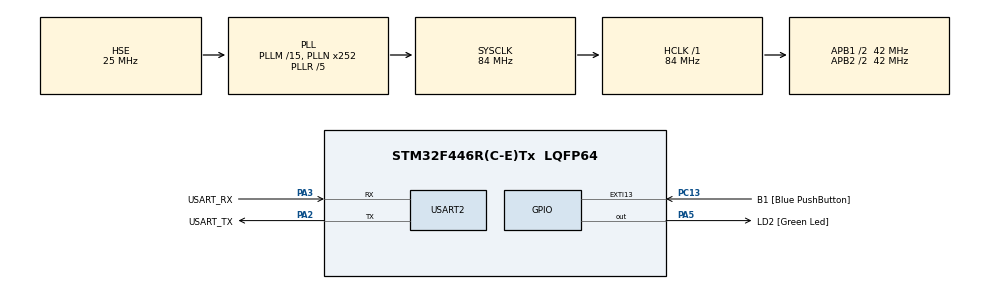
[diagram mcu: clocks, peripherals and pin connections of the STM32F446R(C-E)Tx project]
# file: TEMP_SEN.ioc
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ADC1.Channel-1\#ChannelRegularConversion=ADC_CHANNEL_VREFINT
ADC1.Channel-2\#ChannelRegularConversion=ADC_CHANNEL_TEMPSENSOR
ADC1.ContinuousConvMode=ENABLE
ADC1.DMAContinuousRequests=ENABLE
ADC1.ExternalTrigConv=ADC_EXTERNALTRIGCONV_T3_TRGO
ADC1.NbrOfConversion=2
ADC1.NbrOfConversionFlag=1
ADC1.Rank-1\#ChannelRegularConversion=1
ADC1.Rank-2\#ChannelRegularConversion=2
ADC1.SamplingTime-1\#ChannelRegularConversion=ADC_SAMPLETIME_480CYCLES
ADC1.SamplingTime-2\#ChannelRegularConversion=ADC_SAMPLETIME_480CYCLES
ADC1.ScanConvMode=ENABLE
ADC1.master=1
Dma.ADC1.0.Direction=DMA_PERIPH_TO_MEMORY
Dma.ADC1.0.FIFOMode=DMA_FIFOMODE_DISABLE
Dma.ADC1.0.Instance=DMA2_Stream0
Dma.ADC1.0.MemDataAlignment=DMA_MDATAALIGN_HALFWORD
Dma.ADC1.0.MemInc=DMA_MINC_ENABLE
Dma.ADC1.0.Mode=DMA_CIRCULAR
Dma.ADC1.0.PeriphDataAlignment=DMA_PDATAALIGN_HALFWORD
Dma.ADC1.0.PeriphInc=DMA_PINC_DISABLE
Dma.ADC1.0.Priority=DMA_PRIORITY_LOW
Dma.Request0=ADC1
Mcu.Family=STM32F4
Mcu.Name=STM32F446R(C-E)Tx
Mcu.Package=LQFP64
NVIC.ADC_IRQn=true\:0\:0\:false\:false\:true\:true\:true\:true
NVIC.DMA2_Stream0_IRQn=true\:0\:0\:false\:false\:true\:false\:true\:true
NVIC.PriorityGroup=NVIC_PRIORITYGROUP_0
PA13.GPIO_Label=TMS
PA13.Mode=Serial_Wire
PA13.Signal=SYS_JTMS-SWDIO
PA14.GPIO_Label=TCK
PA14.Mode=Serial_Wire
PA14.Signal=SYS_JTCK-SWCLK
PA2.GPIO_Label=USART_TX
PA2.Mode=Asynchronous
PA2.Signal=USART2_TX
PA3.GPIO_Label=USART_RX
PA3.Mode=Asynchronous
PA3.Signal=USART2_RX
PA5.GPIO_Label=LD2 [Green Led]
PA5.Signal=GPIO_Output
PB3.GPIO_Label=SWO
PB3.Signal=SYS_JTDO-SWO
PC13.GPIO_Label=B1 [Blue PushButton]
PC13.GPIO_ModeDefaultEXTI=GPIO_MODE_IT_FALLING
PC13.Signal=GPXTI13
PC14-OSC32_IN.Mode=LSE-External-Oscillator
PC14-OSC32_IN.Signal=RCC_OSC32_IN
PC15-OSC32_OUT.Mode=LSE-External-Oscillator
PC15-OSC32_OUT.Signal=RCC_OSC32_OUT
PH0-OSC_IN.Mode=HSE-External-Oscillator
PH0-OSC_IN.Signal=RCC_OSC_IN
PH1-OSC_OUT.Mode=HSE-External-Oscillator
PH1-OSC_OUT.Signal=RCC_OSC_OUT
ProjectManager.HeapSize=0x200
ProjectManager.StackSize=0x400
ProjectManager.TargetToolchain=STM32CubeIDE
RCC.48MHZClocksFreq_Value=84000000
RCC.AHBFreq_Value=84000000
RCC.APB1CLKDivider=RCC_HCLK_DIV2
RCC.APB1Freq_Value=42000000
RCC.APB1TimFreq_Value=84000000
RCC.APB2CLKDivider=RCC_HCLK_DIV2
RCC.APB2Freq_Value=42000000
RCC.APB2TimFreq_Value=84000000
RCC.CortexFreq_Value=84000000
RCC.FLatency-AdvancedSettings=FLASH_LATENCY_2
RCC.HCLKFreq_Value=84000000
RCC.HSE_VALUE=25000000
RCC.HSI_VALUE=16000000
RCC.PLLM=15
RCC.PLLN=252
RCC.PLLP=RCC_PLLP_DIV4
RCC.PLLR=5
RCC.PLLSourceVirtual=RCC_PLLSOURCE_HSE
RCC.SYSCLKFreq_VALUE=84000000
RCC.SYSCLKSource=RCC_SYSCLKSOURCE_PLLRCLK
RCC.USBFreq_Value=210000000
RCC.VCOOutputFreq_Value=420000000
TIM3.Period=10000-1
TIM3.Prescaler=0
TIM3.TIM_MasterOutputTrigger=TIM_TRGO_UPDATE
USART2.VirtualMode=VM_ASYNC
VP_ADC1_TempSens_Input.Mode=IN-TempSens
VP_ADC1_Vref_Input.Mode=IN-Vrefint
VP_TIM3_VS_OPM.Mode=OPM_bit
board=NUCLEO-F446RE

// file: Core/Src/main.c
/* USER CODE BEGIN Header */
/**
  ******************************************************************************
  * @file           : main.c
  * @brief          : Main program body
  ******************************************************************************
  * @attention
  *
  * Copyright (c) 2025 STMicroelectronics.
  * All rights reserved.
  *
  * This software is licensed under terms that can be found in the LICENSE file
  * in the root directory of this software component.
  * If no LICENSE file comes with this software, it is provided AS-IS.
  *
  ******************************************************************************
  */
/* USER CODE END Header */
#include "main.h"

ADC_HandleTypeDef hadc1;
DMA_HandleTypeDef hdma_adc1;

TIM_HandleTypeDef htim3;

UART_HandleTypeDef huart2;

/* USER CODE BEGIN PV */
uint16_t AdcRaw[2];

uint8_t AdcConvCmplt = 0;

double Temperature;
/* USER CODE END PV */

void SystemClock_Config(void);
static void MX_GPIO_Init(void);
static void MX_DMA_Init(void);
static void MX_USART2_UART_Init(void);
static void MX_ADC1_Init(void);
static void MX_TIM3_Init(void);

int main(void)
{

  /* MCU Configuration--------------------------------------------------------*/

  /* Reset of all peripherals, Initializes the Flash interface and the Systick. */
  HAL_Init();

  /* Configure the system clock */
  SystemClock_Config();

  /* Initialize all configured peripherals */
  MX_GPIO_Init();
  MX_DMA_Init();
  MX_USART2_UART_Init();
  MX_ADC1_Init();
  MX_TIM3_Init();
  /* USER CODE BEGIN 2 */
  HAL_ADC_Start_DMA(&hadc1, (uint32_t*)AdcRaw, 2);
  HAL_TIM_Base_Start(&htim3);

#define VREFINT 1.21 //internal reference voltage
#define ADCMAX 4095.0 //ADC maximum value

#define V25 0.76 //sencor voltage at room temp 25*C
#define AVG_SLOPE 0.0025 //
  /* USER CODE END 2 */

  /* Infinite loop */
  /* USER CODE BEGIN WHILE */
  while (1)
  {
	  if(AdcConvCmplt){
		  /*something to do*/
		  double Vrefint = (VREFINT*ADCMAX)/AdcRaw[0];

		  double VTMPSens = (Vrefint*AdcRaw[1])/ADCMAX;

		  Temperature = (VTMPSens - V25)/(AVG_SLOPE) + 25.0;

		  AdcConvCmplt= 0;
	  }
    /* USER CODE END WHILE */

  }
}

void SystemClock_Config(void)
{
  RCC_OscInitTypeDef RCC_OscInitStruct = {0};
  RCC_ClkInitTypeDef RCC_ClkInitStruct = {0};

  /** Configure the main internal regulator output voltage
  */
  __HAL_RCC_PWR_CLK_ENABLE();
  __HAL_PWR_VOLTAGESCALING_CONFIG(PWR_REGULATOR_VOLTAGE_SCALE3);

  /** Initializes the RCC Oscillators according to the specified parameters
  * in the RCC_OscInitTypeDef structure.
  */
  RCC_OscInitStruct.OscillatorType = RCC_OSCILLATORTYPE_HSE;
  RCC_OscInitStruct.HSEState = RCC_HSE_ON;
  RCC_OscInitStruct.PLL.PLLState = RCC_PLL_ON;
  RCC_OscInitStruct.PLL.PLLSource = RCC_PLLSOURCE_HSE;
  RCC_OscInitStruct.PLL.PLLM = 15;
  RCC_OscInitStruct.PLL.PLLN = 252;
  RCC_OscInitStruct.PLL.PLLP = RCC_PLLP_DIV4;
  RCC_OscInitStruct.PLL.PLLQ = 2;
  RCC_OscInitStruct.PLL.PLLR = 5;
  if (HAL_RCC_OscConfig(&RCC_OscInitStruct) != HAL_OK)
  {
    Error_Handler();
  }

  /** Initializes the CPU, AHB and APB buses clocks
  */
  RCC_ClkInitStruct.ClockType = RCC_CLOCKTYPE_HCLK|RCC_CLOCKTYPE_SYSCLK
                              |RCC_CLOCKTYPE_PCLK1|RCC_CLOCKTYPE_PCLK2;
  RCC_ClkInitStruct.SYSCLKSource = RCC_SYSCLKSOURCE_PLLRCLK;
  RCC_ClkInitStruct.AHBCLKDivider = RCC_SYSCLK_DIV1;
  RCC_ClkInitStruct.APB1CLKDivider = RCC_HCLK_DIV2;
  RCC_ClkInitStruct.APB2CLKDivider = RCC_HCLK_DIV2;

  if (HAL_RCC_ClockConfig(&RCC_ClkInitStruct, FLASH_LATENCY_2) != HAL_OK)
  {
    Error_Handler();
  }
}

static void MX_ADC1_Init(void)
{

  ADC_ChannelConfTypeDef sConfig = {0};

  /** Configure the global features of the ADC (Clock, Resolution, Data Alignment and number of conversion)
  */
  hadc1.Instance = ADC1;
  hadc1.Init.ClockPrescaler = ADC_CLOCK_SYNC_PCLK_DIV2;
  hadc1.Init.Resolution = ADC_RESOLUTION_12B;
  hadc1.Init.ScanConvMode = ENABLE;
  hadc1.Init.ContinuousConvMode = ENABLE;
  hadc1.Init.DiscontinuousConvMode = DISABLE;
  hadc1.Init.ExternalTrigConvEdge = ADC_EXTERNALTRIGCONVEDGE_RISING;
  hadc1.Init.ExternalTrigConv = ADC_EXTERNALTRIGCONV_T3_TRGO;
  hadc1.Init.DataAlign = ADC_DATAALIGN_RIGHT;
  hadc1.Init.NbrOfConversion = 2;
  hadc1.Init.DMAContinuousRequests = ENABLE;
  hadc1.Init.EOCSelection = ADC_EOC_SINGLE_CONV;
  if (HAL_ADC_Init(&hadc1) != HAL_OK)
  {
    Error_Handler();
  }

  /** Configure for the selected ADC regular channel its corresponding rank in the sequencer and its sample time.
  */
  sConfig.Channel = ADC_CHANNEL_VREFINT;
  sConfig.Rank = 1;
  sConfig.SamplingTime = ADC_SAMPLETIME_480CYCLES;
  if (HAL_ADC_ConfigChannel(&hadc1, &sConfig) != HAL_OK)
  {
    Error_Handler();
  }

  /** Configure for the selected ADC regular channel its corresponding rank in the sequencer and its sample time.
  */
  sConfig.Channel = ADC_CHANNEL_TEMPSENSOR;
  sConfig.Rank = 2;
  if (HAL_ADC_ConfigChannel(&hadc1, &sConfig) != HAL_OK)
  {
    Error_Handler();
  }

}

static void MX_TIM3_Init(void)
{

  TIM_MasterConfigTypeDef sMasterConfig = {0};

  htim3.Instance = TIM3;
  htim3.Init.Prescaler = 0;
  htim3.Init.CounterMode = TIM_COUNTERMODE_UP;
  htim3.Init.Period = 10000-1;
  htim3.Init.ClockDivision = TIM_CLOCKDIVISION_DIV1;
  htim3.Init.AutoReloadPreload = TIM_AUTORELOAD_PRELOAD_DISABLE;
  if (HAL_TIM_OnePulse_Init(&htim3, TIM_OPMODE_SINGLE) != HAL_OK)
  {
    Error_Handler();
  }
  sMasterConfig.MasterOutputTrigger = TIM_TRGO_UPDATE;
  sMasterConfig.MasterSlaveMode = TIM_MASTERSLAVEMODE_DISABLE;
  if (HAL_TIMEx_MasterConfigSynchronization(&htim3, &sMasterConfig) != HAL_OK)
  {
    Error_Handler();
  }

}

static void MX_USART2_UART_Init(void)
{

  huart2.Instance = USART2;
  huart2.Init.BaudRate = 115200;
  huart2.Init.WordLength = UART_WORDLENGTH_8B;
  huart2.Init.StopBits = UART_STOPBITS_1;
  huart2.Init.Parity = UART_PARITY_NONE;
  huart2.Init.Mode = UART_MODE_TX_RX;
  huart2.Init.HwFlowCtl = UART_HWCONTROL_NONE;
  huart2.Init.OverSampling = UART_OVERSAMPLING_16;
  if (HAL_UART_Init(&huart2) != HAL_OK)
  {
    Error_Handler();
  }

}

static void MX_DMA_Init(void)
{

  /* DMA controller clock enable */
  __HAL_RCC_DMA2_CLK_ENABLE();

  /* DMA interrupt init */
  /* DMA2_Stream0_IRQn interrupt configuration */
  HAL_NVIC_SetPriority(DMA2_Stream0_IRQn, 0, 0);
  HAL_NVIC_EnableIRQ(DMA2_Stream0_IRQn);

}

static void MX_GPIO_Init(void)
{
  GPIO_InitTypeDef GPIO_InitStruct = {0};

  /* GPIO Ports Clock Enable */
  __HAL_RCC_GPIOC_CLK_ENABLE();
  __HAL_RCC_GPIOH_CLK_ENABLE();
  __HAL_RCC_GPIOA_CLK_ENABLE();
  __HAL_RCC_GPIOB_CLK_ENABLE();

  /*Configure GPIO pin Output Level */
  HAL_GPIO_WritePin(LD2_GPIO_Port, LD2_Pin, GPIO_PIN_RESET);

  /*Configure GPIO pin : B1_Pin */
  GPIO_InitStruct.Pin = B1_Pin;
  GPIO_InitStruct.Mode = GPIO_MODE_IT_FALLING;
  GPIO_InitStruct.Pull = GPIO_NOPULL;
  HAL_GPIO_Init(B1_GPIO_Port, &GPIO_InitStruct);

  /*Configure GPIO pin : LD2_Pin */
  GPIO_InitStruct.Pin = LD2_Pin;
  GPIO_InitStruct.Mode = GPIO_MODE_OUTPUT_PP;
  GPIO_InitStruct.Pull = GPIO_NOPULL;
  GPIO_InitStruct.Speed = GPIO_SPEED_FREQ_LOW;
  HAL_GPIO_Init(LD2_GPIO_Port, &GPIO_InitStruct);

}

/* USER CODE BEGIN 4 */
void HAL_ADC_ConvCpltCallback(ADC_HandleTypeDef *hadc){
	if(hadc->Instance == ADC1 ){
		AdcConvCmplt = 255;
	}
}

/* USER CODE END 4 */

void Error_Handler(void)
{
  __disable_irq();
  while (1)
  {
  }
}
